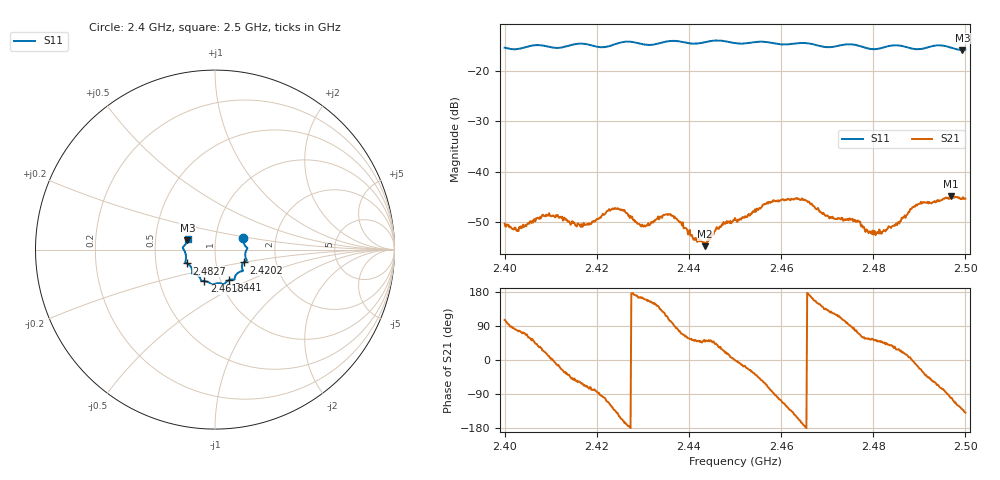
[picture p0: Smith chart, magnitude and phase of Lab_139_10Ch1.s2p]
# Hz S RI R 50
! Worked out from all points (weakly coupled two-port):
!   601 points, 2.4 GHz to 2.5 GHz, reference 50 ohm
!   highest |S21| = -44.88 dB at 2.4968 GHz (marker M1); lowest = -54.9 dB at 2.4435 GHz (marker M2)
!   lowest |S11| = -15.8 dB at 2.4993 GHz (marker M3), VSWR 1.39, Z = 36.5 + j3.82 ohm
!   |S11| at or under -10 dB: start of sweep to end of sweep
!   S12 and S22 are empty: the file has one direction only
!   S11 on the Smith chart (normalised r, x): 2.4 GHz: 1.36, +0.18; 2.4202 GHz: 1.36, -0.20; 2.441 GHz: 1.10, -0.39; 2.4618 GHz: 0.84, -0.30; 2.4827 GHz: 0.72, -0.11; 2.5 GHz: 0.73, +0.09
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2.4e9  0.1588 0.063  -0.000825 0.00292  0 0  0 0
2.402833e9  0.1628 0.0303  0.000552 0.00258  0 0  0 0
2.4095e9  0.1751 -0.00244  0.00359 0.00069  0 0  0 0
2.416667e9  0.1773 -0.0608  0.00138 -0.00266  0 0  0 0
2.420167e9  0.1589 -0.0714  0.00029 -0.00336  0 0  0 0
2.424e9  0.1513 -0.1066  -0.00299 -0.00314  0 0  0 0
2.43e9  0.1366 -0.1246  -0.00276 0.000822  0 0  0 0
2.433333e9  0.1117 -0.1509  -0.00282 0.0022  0 0  0 0
2.436167e9  0.1087 -0.1671  -0.000669 0.00357  0 0  0 0
2.441e9  0.0789 -0.1698  0.00129 0.00165  0 0  0 0
2.4435e9  0.0577 -0.1847  0.0012 0.00136  0 0  0 0
2.447167e9  0.0469 -0.1945  0.00264 0.0014  0 0  0 0
2.45e9  0.0287 -0.1875  0.00345 -6.33e-05  0 0  0 0
2.461833e9  -0.059 -0.1755  -0.00344 -0.00395  0 0  0 0
2.466667e9  -0.0789 -0.1684  -0.00461 0.00134  0 0  0 0
2.4795e9  -0.132 -0.1002  0.00144 0.00196  0 0  0 0
2.482667e9  -0.1557 -0.0771  0.00191 0.00168  0 0  0 0
2.483333e9  -0.1602 -0.0751  0.00217 0.00185  0 0  0 0
2.489833e9  -0.163 -0.0265  0.0045 -0.00156  0 0  0 0
2.496833e9  -0.1696 0.0225  -0.00101 -0.00561  0 0  0 0
2.499333e9  -0.154 0.051  -0.00349 -0.00405  0 0  0 0
2.5e9  -0.1523 0.0603  -0.00403 -0.00354  0 0  0 0
